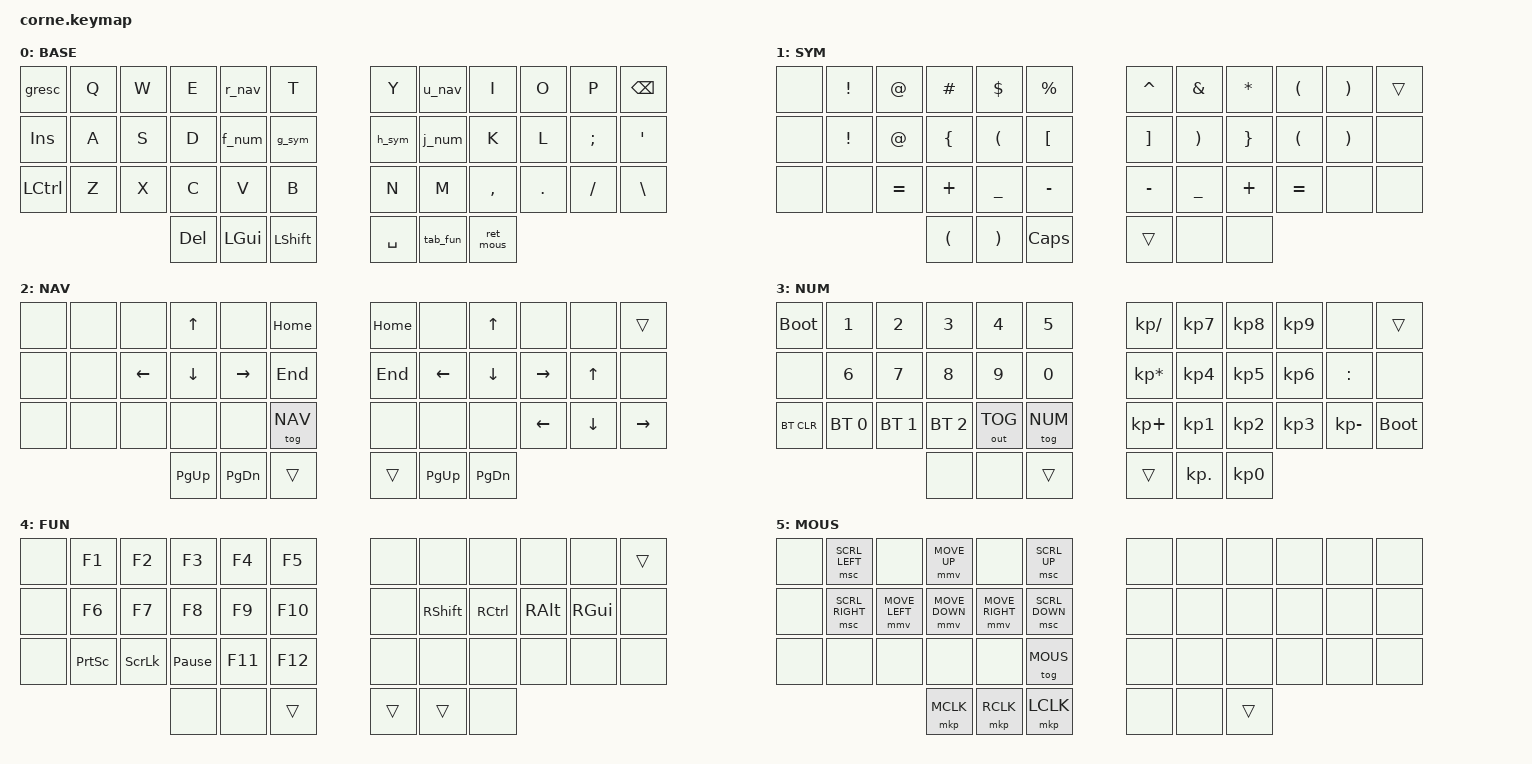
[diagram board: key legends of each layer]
/*
 * Corne ZMK keymap: the wired Corne's layout (KEYBOARDS.md, 2026-11-08).
 * Used by both wireless Cornes (PandaKB and Typeractive choc); see build.yaml.
 *
 *   - Layer keys: NAV on R/U, NUM on F/J, SYM on G/H. Tap for the letter.
 *     A layer key only becomes its layer when a key on the other hand or a
 *     thumb is pressed; a same-hand key types the letter right away.
 *   - Flow tap: a layer key pressed within 250 ms of another key is always the
 *     letter, with no waiting. This is what stops the stutter while typing.
 *   - Right thumbs: Space, Tab (hold FUN), Enter (hold MOUS). Plain Shift.
 *   - Shift + a layer key always types the key, never the layer.
 *   - Combos: B+R toggles NAV, B+F toggles NUM, B+Q toggles MOUS. On those
 *     layers B is the same toggle, so tapping B turns the layer off.
 * ZMK-only extras on NUM (hold J, then the left hand): Bluetooth profiles 1-3
 * on Z X C, USB/Bluetooth toggle on V, clear the current profile on the Ctrl
 * key, and a bootloader key on each half (Esc position left, \ position right).
 * The FUN-layer macros from Vial are left out (this repo is public).
 */

#include <behaviors.dtsi>
#include <dt-bindings/zmk/keys.h>
#include <dt-bindings/zmk/bt.h>
#include <dt-bindings/zmk/outputs.h>
#include <dt-bindings/zmk/pointing.h>

/* Key positions
 *   0  1  2  3  4  5      6  7  8  9 10 11
 *  12 13 14 15 16 17     18 19 20 21 22 23
 *  24 25 26 27 28 29     30 31 32 33 34 35
 *           36 37 38     39 40 41
 */
#define KEYS_L 0 1 2 3 4 5 12 13 14 15 16 17 24 25 26 27 28 29
#define KEYS_R 6 7 8 9 10 11 18 19 20 21 22 23 30 31 32 33 34 35
#define THUMBS 36 37 38 39 40 41

#define BASE 0
#define SYM  1
#define NAV  2
#define NUM  3
#define FUN  4
#define MOUS 5

#define SHIFTS (MOD_LSFT|MOD_RSFT)

/* Shift + this key types the key itself; otherwise it is the layer key. */
#define SHIFT_OR(node, label, layer_tap, plain)                                \
    node: node##_shift_or {                                                    \
        compatible = "zmk,behavior-mod-morph";                                 \
        #binding-cells = <0>;                                                  \
        display-name = label;                                                  \
        bindings = <layer_tap>, <plain>;                                       \
        mods = <SHIFTS>;                                                       \
        keep-mods = <SHIFTS>;                                                  \
    };

/ {
    behaviors {
        // Layer-tap on left-hand letters. The layer only after a 400 ms hold
        // with a right-hand key or a thumb; a left-hand key settles it as the
        // letter at once. require-prior-idle-ms is ZMK's Flow Tap (250 ms, as on
        // the Lily), quick-tap-ms makes tap-then-hold repeat the letter, and
        // retro-tap types the letter if the key is held past the term and
        // released with nothing else pressed.
        ltl: layer_tap_left {
            compatible = "zmk,behavior-hold-tap";
            #binding-cells = <2>;
            display-name = "Layer-Tap (left)";
            flavor = "tap-preferred";
            tapping-term-ms = <400>;
            quick-tap-ms = <200>;
            require-prior-idle-ms = <250>;
            retro-tap;
            bindings = <&mo>, <&kp>;
            hold-trigger-key-positions = <KEYS_R THUMBS>;
        };

        // The same for right-hand letters, triggered by left-hand keys or thumbs.
        ltr: layer_tap_right {
            compatible = "zmk,behavior-hold-tap";
            #binding-cells = <2>;
            display-name = "Layer-Tap (right)";
            flavor = "tap-preferred";
            tapping-term-ms = <400>;
            quick-tap-ms = <200>;
            require-prior-idle-ms = <250>;
            retro-tap;
            bindings = <&mo>, <&kp>;
            hold-trigger-key-positions = <KEYS_L THUMBS>;
        };

        SHIFT_OR(r_nav, "R or NAV",     &ltl NAV R, &kp R)
        SHIFT_OR(f_num, "F or NUM",     &ltl NUM F, &kp F)
        SHIFT_OR(g_sym, "G or SYM",     &ltl SYM G, &kp G)
        SHIFT_OR(u_nav, "U or NAV",     &ltr NAV U, &kp U)
        SHIFT_OR(j_num, "J or NUM",     &ltr NUM J, &kp J)
        SHIFT_OR(h_sym, "H or SYM",     &ltr SYM H, &kp H)
        SHIFT_OR(tab_fun, "Tab or FUN", &lt FUN TAB, &kp TAB)
        SHIFT_OR(ret_mous, "Enter or MOUS", &lt MOUS RET, &kp RET)
    };

    combos {
        compatible = "zmk,combos";
        combo_nav {
            timeout-ms = <150>;
            require-prior-idle-ms = <150>;
            key-positions = <29 4>;     // B + R
            bindings = <&tog NAV>;
            layers = <BASE>;
        };
        combo_num {
            timeout-ms = <150>;
            require-prior-idle-ms = <150>;
            key-positions = <29 16>;    // B + F
            bindings = <&tog NUM>;
            layers = <BASE>;
        };
        combo_mous {
            timeout-ms = <150>;
            require-prior-idle-ms = <150>;
            key-positions = <29 1>;     // B + Q
            bindings = <&tog MOUS>;
            layers = <BASE>;
        };
    };

    keymap {
        compatible = "zmk,keymap";

        base_layer {
            display-name = "BASE";
            bindings = <
// ,-----------------------------------------------------.             ,-----------------------------------------------------.
   &gresc     &kp Q      &kp W      &kp E      &r_nav     &kp T          &kp Y      &u_nav     &kp I      &kp O      &kp P      &kp BSPC
   &kp INS    &kp A      &kp S      &kp D      &f_num     &g_sym         &h_sym     &j_num     &kp K      &kp L      &kp SEMI   &kp SQT
   &kp LCTRL  &kp Z      &kp X      &kp C      &kp V      &kp B          &kp N      &kp M      &kp COMMA  &kp DOT    &kp FSLH   &kp BSLH
//                                  `--------------------------------'  `--------------------------------'
                                    &kp DEL    &kp LGUI   &kp LSHFT      &kp SPACE  &tab_fun   &ret_mous
            >;
        };

        sym_layer {
            display-name = "SYM";
            bindings = <
// ,-----------------------------------------------------.             ,-----------------------------------------------------.
   &none      &kp EXCL   &kp AT     &kp HASH   &kp DLLR   &kp PRCNT      &kp CARET  &kp AMPS   &kp STAR   &kp LPAR   &kp RPAR   &trans
   &none      &kp EXCL   &kp AT     &kp LBRC   &kp LPAR   &kp LBKT       &kp RBKT   &kp RPAR   &kp RBRC   &kp LPAR   &kp RPAR   &none
   &none      &none      &kp EQUAL  &kp PLUS   &kp UNDER  &kp MINUS      &kp MINUS  &kp UNDER  &kp PLUS   &kp EQUAL  &none      &none
//                                  `--------------------------------'  `--------------------------------'
                                    &kp LPAR   &kp RPAR   &kp CAPS       &trans     &none      &none
            >;
        };

        nav_layer {
            display-name = "NAV";
            bindings = <
// ,-----------------------------------------------------.             ,-----------------------------------------------------.
   &none      &none      &none      &kp UP     &none      &kp HOME       &kp HOME   &none      &kp UP     &none      &none      &trans
   &none      &none      &kp LEFT   &kp DOWN   &kp RIGHT  &kp END        &kp END    &kp LEFT   &kp DOWN   &kp RIGHT  &kp UP     &none
   &none      &none      &none      &none      &none      &tog NAV       &none      &none      &none      &kp LEFT   &kp DOWN   &kp RIGHT
//                                  `--------------------------------'  `--------------------------------'
                                    &kp PG_UP  &kp PG_DN  &trans         &trans     &kp PG_UP  &kp PG_DN
            >;
        };

        num_layer {
            display-name = "NUM";
            bindings = <
// ,-----------------------------------------------------.             ,-----------------------------------------------------.
   &bootloader &kp N1    &kp N2     &kp N3     &kp N4     &kp N5         &kp KP_DIVIDE &kp KP_N7 &kp KP_N8 &kp KP_N9 &none   &trans
   &none      &kp N6     &kp N7     &kp N8     &kp N9     &kp N0         &kp KP_MULTIPLY &kp KP_N4 &kp KP_N5 &kp KP_N6 &kp COLON &none
   &bt BT_CLR &bt BT_SEL 0 &bt BT_SEL 1 &bt BT_SEL 2 &out OUT_TOG &tog NUM  &kp KP_PLUS &kp KP_N1 &kp KP_N2 &kp KP_N3 &kp KP_MINUS &bootloader
//                                  `--------------------------------'  `--------------------------------'
                                    &none      &none      &trans         &trans     &kp KP_DOT &kp KP_N0
            >;
        };

        fun_layer {
            display-name = "FUN";
            bindings = <
// ,-----------------------------------------------------.             ,-----------------------------------------------------.
   &none      &kp F1     &kp F2     &kp F3     &kp F4     &kp F5         &none      &none      &none      &none      &none      &trans
   &none      &kp F6     &kp F7     &kp F8     &kp F9     &kp F10        &none      &kp RSHFT  &kp RCTRL  &kp RALT   &kp RGUI   &none
   &none      &kp PSCRN  &kp SLCK   &kp PAUSE_BREAK &kp F11 &kp F12      &none      &none      &none      &none      &none      &none
//                                  `--------------------------------'  `--------------------------------'
                                    &none      &none      &trans         &trans     &trans     &none
            >;
        };

        mouse_layer {
            display-name = "MOUS";
            bindings = <
// ,-----------------------------------------------------.             ,-----------------------------------------------------.
   &none      &msc SCRL_LEFT &none  &mmv MOVE_UP &none   &msc SCRL_UP   &none      &none      &none      &none      &none      &none
   &none      &msc SCRL_RIGHT &mmv MOVE_LEFT &mmv MOVE_DOWN &mmv MOVE_RIGHT &msc SCRL_DOWN  &none &none &none &none &none &none
   &none      &none      &none      &none      &none      &tog MOUS      &none      &none      &none      &none      &none      &none
//                                  `--------------------------------'  `--------------------------------'
                                    &mkp MCLK  &mkp RCLK  &mkp LCLK      &none      &none      &trans
            >;
        };

        // Empty layer for ZMK Studio to fill in. Ignored by non-Studio builds.
        extra1 { status = "reserved"; };
    };
};
